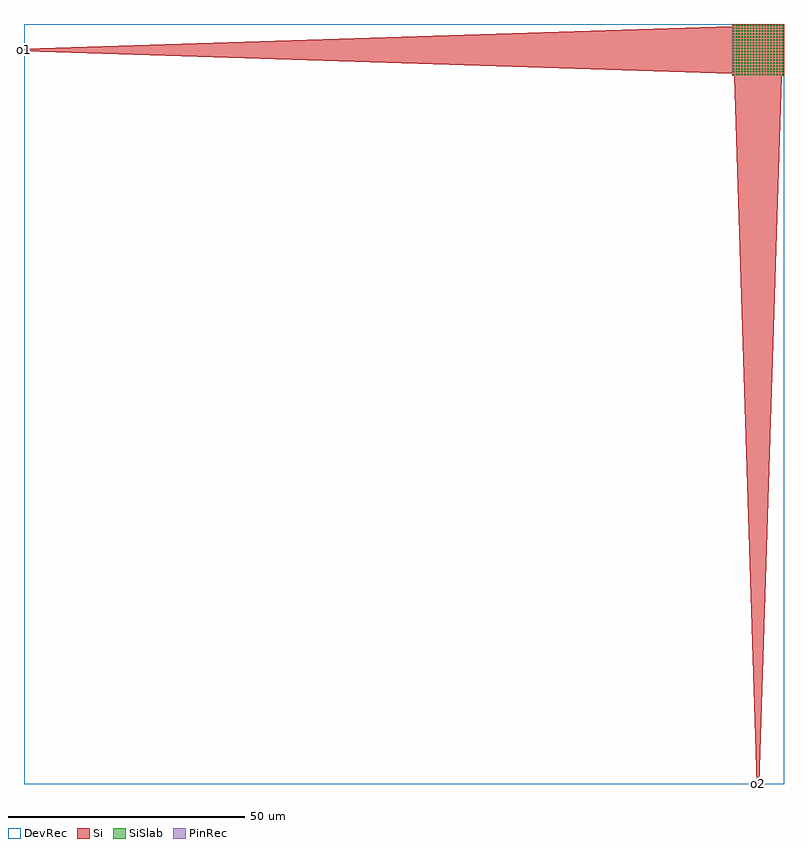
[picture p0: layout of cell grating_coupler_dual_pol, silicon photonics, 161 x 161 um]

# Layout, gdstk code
from math import pi, radians
import gdstk
lib = gdstk.Library(unit=1e-6, precision=1e-09)
def R(c, l, rs):  # rectangles x0, y0, x1, y1
    for r in rs: c.add(gdstk.rectangle(r[:2], r[2:], *l))
def P(c, l, *ps):  # polygons
    for p in ps: c.add(gdstk.Polygon(p, *l))
Si = (1, 0)
PinRec = (1, 10)
SiSlab = (2, 0)
DevRec = (68, 0)

compass_0a065980 = lib.new_cell('compass_0a065980')
R(compass_0a065980, Si, [(-5.5,-5.5,5.5,5.5)])

rectangle_4df3e829 = lib.new_cell('rectangle_4df3e829')
rectangle_4df3e829.add(gdstk.Reference(compass_0a065980, (0,0)))

compass_a42818d4 = lib.new_cell('compass_a42818d4')
R(compass_a42818d4, SiSlab, [(-0.15,-0.15,0.15,0.15)])

rectangle_b91946dd = lib.new_cell('rectangle_b91946dd')
rectangle_b91946dd.add(gdstk.Reference(compass_a42818d4, (0,0)))

taper_9027c919 = lib.new_cell('taper_9027c919')
P(taper_9027c919, Si, [(0,0.25),(150,5),(150,-5),(0,-0.25)])
R(taper_9027c919, DevRec, [(0,-5,150,5)])
taper_9027c919.add(gdstk.FlexPath([(0.001,0),(-0.001,0)], 0.5, ends="flush", simple_path=True, layer=1, datatype=10))  # PinRec
taper_9027c919.add(gdstk.FlexPath([(149.999,0),(150.001,0)], 10, ends="flush", simple_path=True, layer=1, datatype=10))  # PinRec
taper_9027c919.add(gdstk.Label('o1', (0,0), layer=1, texttype=10))
taper_9027c919.add(gdstk.Label('o2', (150,0), layer=1, texttype=10))

grating_coupler_dual_pol = lib.new_cell('grating_coupler_dual_pol')
R(grating_coupler_dual_pol, DevRec, [(-155.502,-155.502,5.5,5.5)])
grating_coupler_dual_pol.add(gdstk.FlexPath([(-155.5,0),(-155.502,0)], 0.5, ends="flush", simple_path=True, layer=1, datatype=10))  # PinRec
grating_coupler_dual_pol.add(gdstk.FlexPath([(0,-155.5),(0,-155.502)], 0.5, ends="flush", simple_path=True, layer=1, datatype=10))  # PinRec
grating_coupler_dual_pol.add(gdstk.Reference(rectangle_4df3e829, (0,0)))
grating_coupler_dual_pol.add(gdstk.Reference(rectangle_b91946dd, (-5.22,-5.22)))
grating_coupler_dual_pol.add(gdstk.Reference(rectangle_b91946dd, (-4.606,-5.22)))
grating_coupler_dual_pol.add(gdstk.Reference(rectangle_b91946dd, (-3.992,-5.22)))
grating_coupler_dual_pol.add(gdstk.Reference(rectangle_b91946dd, (-3.378,-5.22)))
grating_coupler_dual_pol.add(gdstk.Reference(rectangle_b91946dd, (-2.764,-5.22)))
grating_coupler_dual_pol.add(gdstk.Reference(rectangle_b91946dd, (-2.149,-5.22)))
grating_coupler_dual_pol.add(gdstk.Reference(rectangle_b91946dd, (-1.535,-5.22)))
grating_coupler_dual_pol.add(gdstk.Reference(rectangle_b91946dd, (-0.921,-5.22)))
grating_coupler_dual_pol.add(gdstk.Reference(rectangle_b91946dd, (-0.307,-5.22)))
grating_coupler_dual_pol.add(gdstk.Reference(rectangle_b91946dd, (0.307,-5.22)))
grating_coupler_dual_pol.add(gdstk.Reference(rectangle_b91946dd, (0.921,-5.22)))
grating_coupler_dual_pol.add(gdstk.Reference(rectangle_b91946dd, (1.535,-5.22)))
grating_coupler_dual_pol.add(gdstk.Reference(rectangle_b91946dd, (2.149,-5.22)))
grating_coupler_dual_pol.add(gdstk.Reference(rectangle_b91946dd, (2.764,-5.22)))
grating_coupler_dual_pol.add(gdstk.Reference(rectangle_b91946dd, (3.378,-5.22)))
grating_coupler_dual_pol.add(gdstk.Reference(rectangle_b91946dd, (3.992,-5.22)))
grating_coupler_dual_pol.add(gdstk.Reference(rectangle_b91946dd, (4.606,-5.22)))
grating_coupler_dual_pol.add(gdstk.Reference(rectangle_b91946dd, (5.22,-5.22)))
grating_coupler_dual_pol.add(gdstk.Reference(rectangle_b91946dd, (-5.22,-4.606)))
grating_coupler_dual_pol.add(gdstk.Reference(rectangle_b91946dd, (-4.606,-4.606)))
grating_coupler_dual_pol.add(gdstk.Reference(rectangle_b91946dd, (-3.992,-4.606)))
grating_coupler_dual_pol.add(gdstk.Reference(rectangle_b91946dd, (-3.378,-4.606)))
grating_coupler_dual_pol.add(gdstk.Reference(rectangle_b91946dd, (-2.764,-4.606)))
grating_coupler_dual_pol.add(gdstk.Reference(rectangle_b91946dd, (-2.149,-4.606)))
grating_coupler_dual_pol.add(gdstk.Reference(rectangle_b91946dd, (-1.535,-4.606)))
grating_coupler_dual_pol.add(gdstk.Reference(rectangle_b91946dd, (-0.921,-4.606)))
grating_coupler_dual_pol.add(gdstk.Reference(rectangle_b91946dd, (-0.307,-4.606)))
grating_coupler_dual_pol.add(gdstk.Reference(rectangle_b91946dd, (0.307,-4.606)))
grating_coupler_dual_pol.add(gdstk.Reference(rectangle_b91946dd, (0.921,-4.606)))
grating_coupler_dual_pol.add(gdstk.Reference(rectangle_b91946dd, (1.535,-4.606)))
grating_coupler_dual_pol.add(gdstk.Reference(rectangle_b91946dd, (2.149,-4.606)))
grating_coupler_dual_pol.add(gdstk.Reference(rectangle_b91946dd, (2.764,-4.606)))
grating_coupler_dual_pol.add(gdstk.Reference(rectangle_b91946dd, (3.378,-4.606)))
grating_coupler_dual_pol.add(gdstk.Reference(rectangle_b91946dd, (3.992,-4.606)))
grating_coupler_dual_pol.add(gdstk.Reference(rectangle_b91946dd, (4.606,-4.606)))
grating_coupler_dual_pol.add(gdstk.Reference(rectangle_b91946dd, (5.22,-4.606)))
grating_coupler_dual_pol.add(gdstk.Reference(rectangle_b91946dd, (-5.22,-3.992)))
grating_coupler_dual_pol.add(gdstk.Reference(rectangle_b91946dd, (-4.606,-3.992)))
grating_coupler_dual_pol.add(gdstk.Reference(rectangle_b91946dd, (-3.992,-3.992)))
grating_coupler_dual_pol.add(gdstk.Reference(rectangle_b91946dd, (-3.378,-3.992)))
grating_coupler_dual_pol.add(gdstk.Reference(rectangle_b91946dd, (-2.764,-3.992)))
grating_coupler_dual_pol.add(gdstk.Reference(rectangle_b91946dd, (-2.149,-3.992)))
grating_coupler_dual_pol.add(gdstk.Reference(rectangle_b91946dd, (-1.535,-3.992)))
grating_coupler_dual_pol.add(gdstk.Reference(rectangle_b91946dd, (-0.921,-3.992)))
grating_coupler_dual_pol.add(gdstk.Reference(rectangle_b91946dd, (-0.307,-3.992)))
grating_coupler_dual_pol.add(gdstk.Reference(rectangle_b91946dd, (0.307,-3.992)))
grating_coupler_dual_pol.add(gdstk.Reference(rectangle_b91946dd, (0.921,-3.992)))
grating_coupler_dual_pol.add(gdstk.Reference(rectangle_b91946dd, (1.535,-3.992)))
grating_coupler_dual_pol.add(gdstk.Reference(rectangle_b91946dd, (2.149,-3.992)))
grating_coupler_dual_pol.add(gdstk.Reference(rectangle_b91946dd, (2.764,-3.992)))
grating_coupler_dual_pol.add(gdstk.Reference(rectangle_b91946dd, (3.378,-3.992)))
grating_coupler_dual_pol.add(gdstk.Reference(rectangle_b91946dd, (3.992,-3.992)))
grating_coupler_dual_pol.add(gdstk.Reference(rectangle_b91946dd, (4.606,-3.992)))
grating_coupler_dual_pol.add(gdstk.Reference(rectangle_b91946dd, (5.22,-3.992)))
grating_coupler_dual_pol.add(gdstk.Reference(rectangle_b91946dd, (-5.22,-3.378)))
grating_coupler_dual_pol.add(gdstk.Reference(rectangle_b91946dd, (-4.606,-3.378)))
grating_coupler_dual_pol.add(gdstk.Reference(rectangle_b91946dd, (-3.992,-3.378)))
grating_coupler_dual_pol.add(gdstk.Reference(rectangle_b91946dd, (-3.378,-3.378)))
grating_coupler_dual_pol.add(gdstk.Reference(rectangle_b91946dd, (-2.764,-3.378)))
grating_coupler_dual_pol.add(gdstk.Reference(rectangle_b91946dd, (-2.149,-3.378)))
grating_coupler_dual_pol.add(gdstk.Reference(rectangle_b91946dd, (-1.535,-3.378)))
grating_coupler_dual_pol.add(gdstk.Reference(rectangle_b91946dd, (-0.921,-3.378)))
grating_coupler_dual_pol.add(gdstk.Reference(rectangle_b91946dd, (-0.307,-3.378)))
grating_coupler_dual_pol.add(gdstk.Reference(rectangle_b91946dd, (0.307,-3.378)))
grating_coupler_dual_pol.add(gdstk.Reference(rectangle_b91946dd, (0.921,-3.378)))
grating_coupler_dual_pol.add(gdstk.Reference(rectangle_b91946dd, (1.535,-3.378)))
grating_coupler_dual_pol.add(gdstk.Reference(rectangle_b91946dd, (2.149,-3.378)))
grating_coupler_dual_pol.add(gdstk.Reference(rectangle_b91946dd, (2.764,-3.378)))
grating_coupler_dual_pol.add(gdstk.Reference(rectangle_b91946dd, (3.378,-3.378)))
grating_coupler_dual_pol.add(gdstk.Reference(rectangle_b91946dd, (3.992,-3.378)))
grating_coupler_dual_pol.add(gdstk.Reference(rectangle_b91946dd, (4.606,-3.378)))
grating_coupler_dual_pol.add(gdstk.Reference(rectangle_b91946dd, (5.22,-3.378)))
grating_coupler_dual_pol.add(gdstk.Reference(rectangle_b91946dd, (-5.22,-2.764)))
grating_coupler_dual_pol.add(gdstk.Reference(rectangle_b91946dd, (-4.606,-2.764)))
grating_coupler_dual_pol.add(gdstk.Reference(rectangle_b91946dd, (-3.992,-2.764)))
grating_coupler_dual_pol.add(gdstk.Reference(rectangle_b91946dd, (-3.378,-2.764)))
grating_coupler_dual_pol.add(gdstk.Reference(rectangle_b91946dd, (-2.764,-2.764)))
grating_coupler_dual_pol.add(gdstk.Reference(rectangle_b91946dd, (-2.149,-2.764)))
grating_coupler_dual_pol.add(gdstk.Reference(rectangle_b91946dd, (-1.535,-2.764)))
grating_coupler_dual_pol.add(gdstk.Reference(rectangle_b91946dd, (-0.921,-2.764)))
grating_coupler_dual_pol.add(gdstk.Reference(rectangle_b91946dd, (-0.307,-2.764)))
grating_coupler_dual_pol.add(gdstk.Reference(rectangle_b91946dd, (0.307,-2.764)))
grating_coupler_dual_pol.add(gdstk.Reference(rectangle_b91946dd, (0.921,-2.764)))
grating_coupler_dual_pol.add(gdstk.Reference(rectangle_b91946dd, (1.535,-2.764)))
grating_coupler_dual_pol.add(gdstk.Reference(rectangle_b91946dd, (2.149,-2.764)))
grating_coupler_dual_pol.add(gdstk.Reference(rectangle_b91946dd, (2.764,-2.764)))
grating_coupler_dual_pol.add(gdstk.Reference(rectangle_b91946dd, (3.378,-2.764)))
grating_coupler_dual_pol.add(gdstk.Reference(rectangle_b91946dd, (3.992,-2.764)))
grating_coupler_dual_pol.add(gdstk.Reference(rectangle_b91946dd, (4.606,-2.764)))
grating_coupler_dual_pol.add(gdstk.Reference(rectangle_b91946dd, (5.22,-2.764)))
grating_coupler_dual_pol.add(gdstk.Reference(rectangle_b91946dd, (-5.22,-2.149)))
grating_coupler_dual_pol.add(gdstk.Reference(rectangle_b91946dd, (-4.606,-2.149)))
grating_coupler_dual_pol.add(gdstk.Reference(rectangle_b91946dd, (-3.992,-2.149)))
grating_coupler_dual_pol.add(gdstk.Reference(rectangle_b91946dd, (-3.378,-2.149)))
grating_coupler_dual_pol.add(gdstk.Reference(rectangle_b91946dd, (-2.764,-2.149)))
grating_coupler_dual_pol.add(gdstk.Reference(rectangle_b91946dd, (-2.149,-2.149)))
grating_coupler_dual_pol.add(gdstk.Reference(rectangle_b91946dd, (-1.535,-2.149)))
grating_coupler_dual_pol.add(gdstk.Reference(rectangle_b91946dd, (-0.921,-2.149)))
grating_coupler_dual_pol.add(gdstk.Reference(rectangle_b91946dd, (-0.307,-2.149)))
grating_coupler_dual_pol.add(gdstk.Reference(rectangle_b91946dd, (0.307,-2.149)))
grating_coupler_dual_pol.add(gdstk.Reference(rectangle_b91946dd, (0.921,-2.149)))
grating_coupler_dual_pol.add(gdstk.Reference(rectangle_b91946dd, (1.535,-2.149)))
grating_coupler_dual_pol.add(gdstk.Reference(rectangle_b91946dd, (2.149,-2.149)))
grating_coupler_dual_pol.add(gdstk.Reference(rectangle_b91946dd, (2.764,-2.149)))
grating_coupler_dual_pol.add(gdstk.Reference(rectangle_b91946dd, (3.378,-2.149)))
grating_coupler_dual_pol.add(gdstk.Reference(rectangle_b91946dd, (3.992,-2.149)))
grating_coupler_dual_pol.add(gdstk.Reference(rectangle_b91946dd, (4.606,-2.149)))
grating_coupler_dual_pol.add(gdstk.Reference(rectangle_b91946dd, (5.22,-2.149)))
grating_coupler_dual_pol.add(gdstk.Reference(rectangle_b91946dd, (-5.22,-1.535)))
grating_coupler_dual_pol.add(gdstk.Reference(rectangle_b91946dd, (-4.606,-1.535)))
grating_coupler_dual_pol.add(gdstk.Reference(rectangle_b91946dd, (-3.992,-1.535)))
grating_coupler_dual_pol.add(gdstk.Reference(rectangle_b91946dd, (-3.378,-1.535)))
grating_coupler_dual_pol.add(gdstk.Reference(rectangle_b91946dd, (-2.764,-1.535)))
grating_coupler_dual_pol.add(gdstk.Reference(rectangle_b91946dd, (-2.149,-1.535)))
grating_coupler_dual_pol.add(gdstk.Reference(rectangle_b91946dd, (-1.535,-1.535)))
grating_coupler_dual_pol.add(gdstk.Reference(rectangle_b91946dd, (-0.921,-1.535)))
grating_coupler_dual_pol.add(gdstk.Reference(rectangle_b91946dd, (-0.307,-1.535)))
grating_coupler_dual_pol.add(gdstk.Reference(rectangle_b91946dd, (0.307,-1.535)))
grating_coupler_dual_pol.add(gdstk.Reference(rectangle_b91946dd, (0.921,-1.535)))
grating_coupler_dual_pol.add(gdstk.Reference(rectangle_b91946dd, (1.535,-1.535)))
grating_coupler_dual_pol.add(gdstk.Reference(rectangle_b91946dd, (2.149,-1.535)))
grating_coupler_dual_pol.add(gdstk.Reference(rectangle_b91946dd, (2.764,-1.535)))
grating_coupler_dual_pol.add(gdstk.Reference(rectangle_b91946dd, (3.378,-1.535)))
grating_coupler_dual_pol.add(gdstk.Reference(rectangle_b91946dd, (3.992,-1.535)))
grating_coupler_dual_pol.add(gdstk.Reference(rectangle_b91946dd, (4.606,-1.535)))
grating_coupler_dual_pol.add(gdstk.Reference(rectangle_b91946dd, (5.22,-1.535)))
grating_coupler_dual_pol.add(gdstk.Reference(rectangle_b91946dd, (-5.22,-0.921)))
grating_coupler_dual_pol.add(gdstk.Reference(rectangle_b91946dd, (-4.606,-0.921)))
grating_coupler_dual_pol.add(gdstk.Reference(rectangle_b91946dd, (-3.992,-0.921)))
grating_coupler_dual_pol.add(gdstk.Reference(rectangle_b91946dd, (-3.378,-0.921)))
grating_coupler_dual_pol.add(gdstk.Reference(rectangle_b91946dd, (-2.764,-0.921)))
grating_coupler_dual_pol.add(gdstk.Reference(rectangle_b91946dd, (-2.149,-0.921)))
grating_coupler_dual_pol.add(gdstk.Reference(rectangle_b91946dd, (-1.535,-0.921)))
grating_coupler_dual_pol.add(gdstk.Reference(rectangle_b91946dd, (-0.921,-0.921)))
grating_coupler_dual_pol.add(gdstk.Reference(rectangle_b91946dd, (-0.307,-0.921)))
grating_coupler_dual_pol.add(gdstk.Reference(rectangle_b91946dd, (0.307,-0.921)))
grating_coupler_dual_pol.add(gdstk.Reference(rectangle_b91946dd, (0.921,-0.921)))
grating_coupler_dual_pol.add(gdstk.Reference(rectangle_b91946dd, (1.535,-0.921)))
grating_coupler_dual_pol.add(gdstk.Reference(rectangle_b91946dd, (2.149,-0.921)))
grating_coupler_dual_pol.add(gdstk.Reference(rectangle_b91946dd, (2.764,-0.921)))
grating_coupler_dual_pol.add(gdstk.Reference(rectangle_b91946dd, (3.378,-0.921)))
grating_coupler_dual_pol.add(gdstk.Reference(rectangle_b91946dd, (3.992,-0.921)))
grating_coupler_dual_pol.add(gdstk.Reference(rectangle_b91946dd, (4.606,-0.921)))
grating_coupler_dual_pol.add(gdstk.Reference(rectangle_b91946dd, (5.22,-0.921)))
grating_coupler_dual_pol.add(gdstk.Reference(rectangle_b91946dd, (-5.22,-0.307)))
grating_coupler_dual_pol.add(gdstk.Reference(rectangle_b91946dd, (-4.606,-0.307)))
grating_coupler_dual_pol.add(gdstk.Reference(rectangle_b91946dd, (-3.992,-0.307)))
grating_coupler_dual_pol.add(gdstk.Reference(rectangle_b91946dd, (-3.378,-0.307)))
grating_coupler_dual_pol.add(gdstk.Reference(rectangle_b91946dd, (-2.764,-0.307)))
grating_coupler_dual_pol.add(gdstk.Reference(rectangle_b91946dd, (-2.149,-0.307)))
grating_coupler_dual_pol.add(gdstk.Reference(rectangle_b91946dd, (-1.535,-0.307)))
grating_coupler_dual_pol.add(gdstk.Reference(rectangle_b91946dd, (-0.921,-0.307)))
grating_coupler_dual_pol.add(gdstk.Reference(rectangle_b91946dd, (-0.307,-0.307)))
grating_coupler_dual_pol.add(gdstk.Reference(rectangle_b91946dd, (0.307,-0.307)))
grating_coupler_dual_pol.add(gdstk.Reference(rectangle_b91946dd, (0.921,-0.307)))
grating_coupler_dual_pol.add(gdstk.Reference(rectangle_b91946dd, (1.535,-0.307)))
grating_coupler_dual_pol.add(gdstk.Reference(rectangle_b91946dd, (2.149,-0.307)))
grating_coupler_dual_pol.add(gdstk.Reference(rectangle_b91946dd, (2.764,-0.307)))
grating_coupler_dual_pol.add(gdstk.Reference(rectangle_b91946dd, (3.378,-0.307)))
grating_coupler_dual_pol.add(gdstk.Reference(rectangle_b91946dd, (3.992,-0.307)))
grating_coupler_dual_pol.add(gdstk.Reference(rectangle_b91946dd, (4.606,-0.307)))
grating_coupler_dual_pol.add(gdstk.Reference(rectangle_b91946dd, (5.22,-0.307)))
grating_coupler_dual_pol.add(gdstk.Reference(rectangle_b91946dd, (-5.22,0.307)))
grating_coupler_dual_pol.add(gdstk.Reference(rectangle_b91946dd, (-4.606,0.307)))
grating_coupler_dual_pol.add(gdstk.Reference(rectangle_b91946dd, (-3.992,0.307)))
grating_coupler_dual_pol.add(gdstk.Reference(rectangle_b91946dd, (-3.378,0.307)))
grating_coupler_dual_pol.add(gdstk.Reference(rectangle_b91946dd, (-2.764,0.307)))
grating_coupler_dual_pol.add(gdstk.Reference(rectangle_b91946dd, (-2.149,0.307)))
grating_coupler_dual_pol.add(gdstk.Reference(rectangle_b91946dd, (-1.535,0.307)))
grating_coupler_dual_pol.add(gdstk.Reference(rectangle_b91946dd, (-0.921,0.307)))
grating_coupler_dual_pol.add(gdstk.Reference(rectangle_b91946dd, (-0.307,0.307)))
grating_coupler_dual_pol.add(gdstk.Reference(rectangle_b91946dd, (0.307,0.307)))
grating_coupler_dual_pol.add(gdstk.Reference(rectangle_b91946dd, (0.921,0.307)))
grating_coupler_dual_pol.add(gdstk.Reference(rectangle_b91946dd, (1.535,0.307)))
grating_coupler_dual_pol.add(gdstk.Reference(rectangle_b91946dd, (2.149,0.307)))
grating_coupler_dual_pol.add(gdstk.Reference(rectangle_b91946dd, (2.764,0.307)))
grating_coupler_dual_pol.add(gdstk.Reference(rectangle_b91946dd, (3.378,0.307)))
grating_coupler_dual_pol.add(gdstk.Reference(rectangle_b91946dd, (3.992,0.307)))
grating_coupler_dual_pol.add(gdstk.Reference(rectangle_b91946dd, (4.606,0.307)))
grating_coupler_dual_pol.add(gdstk.Reference(rectangle_b91946dd, (5.22,0.307)))
grating_coupler_dual_pol.add(gdstk.Reference(rectangle_b91946dd, (-5.22,0.921)))
grating_coupler_dual_pol.add(gdstk.Reference(rectangle_b91946dd, (-4.606,0.921)))
grating_coupler_dual_pol.add(gdstk.Reference(rectangle_b91946dd, (-3.992,0.921)))
grating_coupler_dual_pol.add(gdstk.Reference(rectangle_b91946dd, (-3.378,0.921)))
grating_coupler_dual_pol.add(gdstk.Reference(rectangle_b91946dd, (-2.764,0.921)))
grating_coupler_dual_pol.add(gdstk.Reference(rectangle_b91946dd, (-2.149,0.921)))
grating_coupler_dual_pol.add(gdstk.Reference(rectangle_b91946dd, (-1.535,0.921)))
grating_coupler_dual_pol.add(gdstk.Reference(rectangle_b91946dd, (-0.921,0.921)))
grating_coupler_dual_pol.add(gdstk.Reference(rectangle_b91946dd, (-0.307,0.921)))
grating_coupler_dual_pol.add(gdstk.Reference(rectangle_b91946dd, (0.307,0.921)))
grating_coupler_dual_pol.add(gdstk.Reference(rectangle_b91946dd, (0.921,0.921)))
grating_coupler_dual_pol.add(gdstk.Reference(rectangle_b91946dd, (1.535,0.921)))
grating_coupler_dual_pol.add(gdstk.Reference(rectangle_b91946dd, (2.149,0.921)))
grating_coupler_dual_pol.add(gdstk.Reference(rectangle_b91946dd, (2.764,0.921)))
grating_coupler_dual_pol.add(gdstk.Reference(rectangle_b91946dd, (3.378,0.921)))
grating_coupler_dual_pol.add(gdstk.Reference(rectangle_b91946dd, (3.992,0.921)))
grating_coupler_dual_pol.add(gdstk.Reference(rectangle_b91946dd, (4.606,0.921)))
grating_coupler_dual_pol.add(gdstk.Reference(rectangle_b91946dd, (5.22,0.921)))
grating_coupler_dual_pol.add(gdstk.Reference(rectangle_b91946dd, (-5.22,1.535)))
grating_coupler_dual_pol.add(gdstk.Reference(rectangle_b91946dd, (-4.606,1.535)))
grating_coupler_dual_pol.add(gdstk.Reference(rectangle_b91946dd, (-3.992,1.535)))
grating_coupler_dual_pol.add(gdstk.Reference(rectangle_b91946dd, (-3.378,1.535)))
grating_coupler_dual_pol.add(gdstk.Reference(rectangle_b91946dd, (-2.764,1.535)))
grating_coupler_dual_pol.add(gdstk.Reference(rectangle_b91946dd, (-2.149,1.535)))
grating_coupler_dual_pol.add(gdstk.Reference(rectangle_b91946dd, (-1.535,1.535)))
grating_coupler_dual_pol.add(gdstk.Reference(rectangle_b91946dd, (-0.921,1.535)))
grating_coupler_dual_pol.add(gdstk.Reference(rectangle_b91946dd, (-0.307,1.535)))
grating_coupler_dual_pol.add(gdstk.Reference(rectangle_b91946dd, (0.307,1.535)))
grating_coupler_dual_pol.add(gdstk.Reference(rectangle_b91946dd, (0.921,1.535)))
grating_coupler_dual_pol.add(gdstk.Reference(rectangle_b91946dd, (1.535,1.535)))
grating_coupler_dual_pol.add(gdstk.Reference(rectangle_b91946dd, (2.149,1.535)))
grating_coupler_dual_pol.add(gdstk.Reference(rectangle_b91946dd, (2.764,1.535)))
grating_coupler_dual_pol.add(gdstk.Reference(rectangle_b91946dd, (3.378,1.535)))
grating_coupler_dual_pol.add(gdstk.Reference(rectangle_b91946dd, (3.992,1.535)))
grating_coupler_dual_pol.add(gdstk.Reference(rectangle_b91946dd, (4.606,1.535)))
grating_coupler_dual_pol.add(gdstk.Reference(rectangle_b91946dd, (5.22,1.535)))
grating_coupler_dual_pol.add(gdstk.Reference(rectangle_b91946dd, (-5.22,2.149)))
grating_coupler_dual_pol.add(gdstk.Reference(rectangle_b91946dd, (-4.606,2.149)))
grating_coupler_dual_pol.add(gdstk.Reference(rectangle_b91946dd, (-3.992,2.149)))
grating_coupler_dual_pol.add(gdstk.Reference(rectangle_b91946dd, (-3.378,2.149)))
grating_coupler_dual_pol.add(gdstk.Reference(rectangle_b91946dd, (-2.764,2.149)))
grating_coupler_dual_pol.add(gdstk.Reference(rectangle_b91946dd, (-2.149,2.149)))
grating_coupler_dual_pol.add(gdstk.Reference(rectangle_b91946dd, (-1.535,2.149)))
grating_coupler_dual_pol.add(gdstk.Reference(rectangle_b91946dd, (-0.921,2.149)))
grating_coupler_dual_pol.add(gdstk.Reference(rectangle_b91946dd, (-0.307,2.149)))
grating_coupler_dual_pol.add(gdstk.Reference(rectangle_b91946dd, (0.307,2.149)))
grating_coupler_dual_pol.add(gdstk.Reference(rectangle_b91946dd, (0.921,2.149)))
grating_coupler_dual_pol.add(gdstk.Reference(rectangle_b91946dd, (1.535,2.149)))
grating_coupler_dual_pol.add(gdstk.Reference(rectangle_b91946dd, (2.149,2.149)))
grating_coupler_dual_pol.add(gdstk.Reference(rectangle_b91946dd, (2.764,2.149)))
grating_coupler_dual_pol.add(gdstk.Reference(rectangle_b91946dd, (3.378,2.149)))
grating_coupler_dual_pol.add(gdstk.Reference(rectangle_b91946dd, (3.992,2.149)))
grating_coupler_dual_pol.add(gdstk.Reference(rectangle_b91946dd, (4.606,2.149)))
grating_coupler_dual_pol.add(gdstk.Reference(rectangle_b91946dd, (5.22,2.149)))
grating_coupler_dual_pol.add(gdstk.Reference(rectangle_b91946dd, (-5.22,2.764)))
grating_coupler_dual_pol.add(gdstk.Reference(rectangle_b91946dd, (-4.606,2.764)))
grating_coupler_dual_pol.add(gdstk.Reference(rectangle_b91946dd, (-3.992,2.764)))
grating_coupler_dual_pol.add(gdstk.Reference(rectangle_b91946dd, (-3.378,2.764)))
grating_coupler_dual_pol.add(gdstk.Reference(rectangle_b91946dd, (-2.764,2.764)))
grating_coupler_dual_pol.add(gdstk.Reference(rectangle_b91946dd, (-2.149,2.764)))
grating_coupler_dual_pol.add(gdstk.Reference(rectangle_b91946dd, (-1.535,2.764)))
grating_coupler_dual_pol.add(gdstk.Reference(rectangle_b91946dd, (-0.921,2.764)))
grating_coupler_dual_pol.add(gdstk.Reference(rectangle_b91946dd, (-0.307,2.764)))
grating_coupler_dual_pol.add(gdstk.Reference(rectangle_b91946dd, (0.307,2.764)))
grating_coupler_dual_pol.add(gdstk.Reference(rectangle_b91946dd, (0.921,2.764)))
grating_coupler_dual_pol.add(gdstk.Reference(rectangle_b91946dd, (1.535,2.764)))
grating_coupler_dual_pol.add(gdstk.Reference(rectangle_b91946dd, (2.149,2.764)))
grating_coupler_dual_pol.add(gdstk.Reference(rectangle_b91946dd, (2.764,2.764)))
grating_coupler_dual_pol.add(gdstk.Reference(rectangle_b91946dd, (3.378,2.764)))
grating_coupler_dual_pol.add(gdstk.Reference(rectangle_b91946dd, (3.992,2.764)))
grating_coupler_dual_pol.add(gdstk.Reference(rectangle_b91946dd, (4.606,2.764)))
grating_coupler_dual_pol.add(gdstk.Reference(rectangle_b91946dd, (5.22,2.764)))
grating_coupler_dual_pol.add(gdstk.Reference(rectangle_b91946dd, (-5.22,3.378)))
grating_coupler_dual_pol.add(gdstk.Reference(rectangle_b91946dd, (-4.606,3.378)))
grating_coupler_dual_pol.add(gdstk.Reference(rectangle_b91946dd, (-3.992,3.378)))
grating_coupler_dual_pol.add(gdstk.Reference(rectangle_b91946dd, (-3.378,3.378)))
grating_coupler_dual_pol.add(gdstk.Reference(rectangle_b91946dd, (-2.764,3.378)))
grating_coupler_dual_pol.add(gdstk.Reference(rectangle_b91946dd, (-2.149,3.378)))
grating_coupler_dual_pol.add(gdstk.Reference(rectangle_b91946dd, (-1.535,3.378)))
grating_coupler_dual_pol.add(gdstk.Reference(rectangle_b91946dd, (-0.921,3.378)))
grating_coupler_dual_pol.add(gdstk.Reference(rectangle_b91946dd, (-0.307,3.378)))
grating_coupler_dual_pol.add(gdstk.Reference(rectangle_b91946dd, (0.307,3.378)))
grating_coupler_dual_pol.add(gdstk.Reference(rectangle_b91946dd, (0.921,3.378)))
grating_coupler_dual_pol.add(gdstk.Reference(rectangle_b91946dd, (1.535,3.378)))
grating_coupler_dual_pol.add(gdstk.Reference(rectangle_b91946dd, (2.149,3.378)))
grating_coupler_dual_pol.add(gdstk.Reference(rectangle_b91946dd, (2.764,3.378)))
grating_coupler_dual_pol.add(gdstk.Reference(rectangle_b91946dd, (3.378,3.378)))
grating_coupler_dual_pol.add(gdstk.Reference(rectangle_b91946dd, (3.992,3.378)))
grating_coupler_dual_pol.add(gdstk.Reference(rectangle_b91946dd, (4.606,3.378)))
grating_coupler_dual_pol.add(gdstk.Reference(rectangle_b91946dd, (5.22,3.378)))
grating_coupler_dual_pol.add(gdstk.Reference(rectangle_b91946dd, (-5.22,3.992)))
grating_coupler_dual_pol.add(gdstk.Reference(rectangle_b91946dd, (-4.606,3.992)))
grating_coupler_dual_pol.add(gdstk.Reference(rectangle_b91946dd, (-3.992,3.992)))
grating_coupler_dual_pol.add(gdstk.Reference(rectangle_b91946dd, (-3.378,3.992)))
grating_coupler_dual_pol.add(gdstk.Reference(rectangle_b91946dd, (-2.764,3.992)))
grating_coupler_dual_pol.add(gdstk.Reference(rectangle_b91946dd, (-2.149,3.992)))
grating_coupler_dual_pol.add(gdstk.Reference(rectangle_b91946dd, (-1.535,3.992)))
grating_coupler_dual_pol.add(gdstk.Reference(rectangle_b91946dd, (-0.921,3.992)))
grating_coupler_dual_pol.add(gdstk.Reference(rectangle_b91946dd, (-0.307,3.992)))
grating_coupler_dual_pol.add(gdstk.Reference(rectangle_b91946dd, (0.307,3.992)))
grating_coupler_dual_pol.add(gdstk.Reference(rectangle_b91946dd, (0.921,3.992)))
grating_coupler_dual_pol.add(gdstk.Reference(rectangle_b91946dd, (1.535,3.992)))
grating_coupler_dual_pol.add(gdstk.Reference(rectangle_b91946dd, (2.149,3.992)))
grating_coupler_dual_pol.add(gdstk.Reference(rectangle_b91946dd, (2.764,3.992)))
grating_coupler_dual_pol.add(gdstk.Reference(rectangle_b91946dd, (3.378,3.992)))
grating_coupler_dual_pol.add(gdstk.Reference(rectangle_b91946dd, (3.992,3.992)))
grating_coupler_dual_pol.add(gdstk.Reference(rectangle_b91946dd, (4.606,3.992)))
grating_coupler_dual_pol.add(gdstk.Reference(rectangle_b91946dd, (5.22,3.992)))
grating_coupler_dual_pol.add(gdstk.Reference(rectangle_b91946dd, (-5.22,4.606)))
grating_coupler_dual_pol.add(gdstk.Reference(rectangle_b91946dd, (-4.606,4.606)))
grating_coupler_dual_pol.add(gdstk.Reference(rectangle_b91946dd, (-3.992,4.606)))
grating_coupler_dual_pol.add(gdstk.Reference(rectangle_b91946dd, (-3.378,4.606)))
grating_coupler_dual_pol.add(gdstk.Reference(rectangle_b91946dd, (-2.764,4.606)))
grating_coupler_dual_pol.add(gdstk.Reference(rectangle_b91946dd, (-2.149,4.606)))
grating_coupler_dual_pol.add(gdstk.Reference(rectangle_b91946dd, (-1.535,4.606)))
grating_coupler_dual_pol.add(gdstk.Reference(rectangle_b91946dd, (-0.921,4.606)))
grating_coupler_dual_pol.add(gdstk.Reference(rectangle_b91946dd, (-0.307,4.606)))
grating_coupler_dual_pol.add(gdstk.Reference(rectangle_b91946dd, (0.307,4.606)))
grating_coupler_dual_pol.add(gdstk.Reference(rectangle_b91946dd, (0.921,4.606)))
grating_coupler_dual_pol.add(gdstk.Reference(rectangle_b91946dd, (1.535,4.606)))
grating_coupler_dual_pol.add(gdstk.Reference(rectangle_b91946dd, (2.149,4.606)))
grating_coupler_dual_pol.add(gdstk.Reference(rectangle_b91946dd, (2.764,4.606)))
grating_coupler_dual_pol.add(gdstk.Reference(rectangle_b91946dd, (3.378,4.606)))
grating_coupler_dual_pol.add(gdstk.Reference(rectangle_b91946dd, (3.992,4.606)))
grating_coupler_dual_pol.add(gdstk.Reference(rectangle_b91946dd, (4.606,4.606)))
grating_coupler_dual_pol.add(gdstk.Reference(rectangle_b91946dd, (5.22,4.606)))
grating_coupler_dual_pol.add(gdstk.Reference(rectangle_b91946dd, (-5.22,5.22)))
grating_coupler_dual_pol.add(gdstk.Reference(rectangle_b91946dd, (-4.606,5.22)))
grating_coupler_dual_pol.add(gdstk.Reference(rectangle_b91946dd, (-3.992,5.22)))
grating_coupler_dual_pol.add(gdstk.Reference(rectangle_b91946dd, (-3.378,5.22)))
grating_coupler_dual_pol.add(gdstk.Reference(rectangle_b91946dd, (-2.764,5.22)))
grating_coupler_dual_pol.add(gdstk.Reference(rectangle_b91946dd, (-2.149,5.22)))
grating_coupler_dual_pol.add(gdstk.Reference(rectangle_b91946dd, (-1.535,5.22)))
grating_coupler_dual_pol.add(gdstk.Reference(rectangle_b91946dd, (-0.921,5.22)))
grating_coupler_dual_pol.add(gdstk.Reference(rectangle_b91946dd, (-0.307,5.22)))
grating_coupler_dual_pol.add(gdstk.Reference(rectangle_b91946dd, (0.307,5.22)))
grating_coupler_dual_pol.add(gdstk.Reference(rectangle_b91946dd, (0.921,5.22)))
grating_coupler_dual_pol.add(gdstk.Reference(rectangle_b91946dd, (1.535,5.22)))
grating_coupler_dual_pol.add(gdstk.Reference(rectangle_b91946dd, (2.149,5.22)))
grating_coupler_dual_pol.add(gdstk.Reference(rectangle_b91946dd, (2.764,5.22)))
grating_coupler_dual_pol.add(gdstk.Reference(rectangle_b91946dd, (3.378,5.22)))
grating_coupler_dual_pol.add(gdstk.Reference(rectangle_b91946dd, (3.992,5.22)))
grating_coupler_dual_pol.add(gdstk.Reference(rectangle_b91946dd, (4.606,5.22)))
grating_coupler_dual_pol.add(gdstk.Reference(rectangle_b91946dd, (5.22,5.22)))
grating_coupler_dual_pol.add(gdstk.Reference(taper_9027c919, (-155.501,0)))
grating_coupler_dual_pol.add(gdstk.Reference(taper_9027c919, (0,-155.501), rotation=pi/2))
grating_coupler_dual_pol.add(gdstk.Label('o1', (-155.501,0), layer=1, texttype=10))
grating_coupler_dual_pol.add(gdstk.Label('o2', (0,-155.501), layer=1, texttype=10))

lib.write_gds('grating_coupler_dual_pol.gds')
